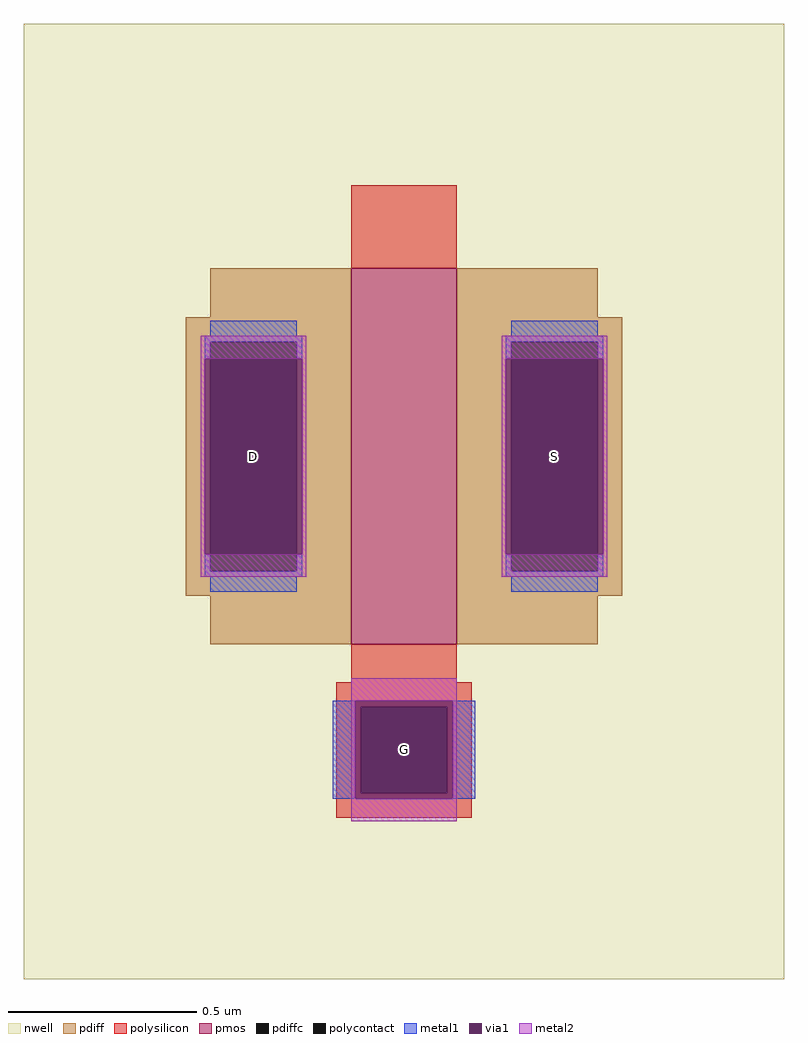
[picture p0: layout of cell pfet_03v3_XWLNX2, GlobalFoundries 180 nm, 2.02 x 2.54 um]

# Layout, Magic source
magic
tech gf180mcuD
magscale 1 10
<< nwell >>
rect -202 -254 202 254
<< pmos >>
rect -28 -76 28 124
<< pdiff >>
rect -103 98 -28 124
rect -116 85 -28 98
rect -116 -37 -103 85
rect -57 -37 -28 85
rect -116 -50 -28 -37
rect -103 -76 -28 -50
rect 28 98 103 124
rect 28 85 116 98
rect 28 -37 57 85
rect 103 -37 116 85
rect 28 -50 116 -37
rect 28 -76 103 -50
<< pdiffc >>
rect -103 -37 -57 85
rect 57 -37 103 85
<< polysilicon >>
rect -28 124 28 168
rect -28 -96 28 -76
rect -36 -109 36 -96
rect -36 -155 -23 -109
rect 23 -155 36 -109
rect -36 -168 36 -155
<< polycontact >>
rect -23 -155 23 -109
<< metal1 >>
rect -103 88 -57 96
rect 57 88 103 96
rect -106 85 -54 88
rect -106 76 -103 85
rect -57 76 -54 85
rect -106 -37 -103 -28
rect -57 -37 -54 -28
rect -106 -40 -54 -37
rect 54 85 106 88
rect 54 76 57 85
rect 103 76 106 85
rect 54 -37 57 -28
rect 103 -37 106 -28
rect 54 -40 106 -37
rect -103 -48 -57 -40
rect 57 -48 103 -40
rect -38 -158 -26 -106
rect 26 -158 38 -106
<< via1 >>
rect -106 -28 -103 76
rect -103 -28 -57 76
rect -57 -28 -54 76
rect 54 -28 57 76
rect 57 -28 103 76
rect 103 -28 106 76
rect -26 -109 26 -106
rect -26 -155 -23 -109
rect -23 -155 23 -109
rect 23 -155 26 -109
rect -26 -158 26 -155
<< metal2 >>
rect -108 76 -52 88
rect -108 -28 -106 76
rect -54 -28 -52 76
rect -108 -40 -52 -28
rect 52 76 108 88
rect 52 -28 54 76
rect 106 -28 108 76
rect 52 -40 108 -28
rect -28 -106 28 -94
rect -28 -158 -26 -106
rect 26 -158 28 -106
rect -28 -170 28 -158
<< labels >>
rlabel pdiffc -80 24 -80 24 0 D
port 1 nsew
rlabel pdiffc 80 24 80 24 0 S
port 2 nsew
rlabel polycontact 0 -132 0 -132 0 G
port 3 nsew
<< properties >>
string gencell pfet_03v3
string library gf180mcu
string parameters w 1.0 l 0.28 m 1 nf 1 diffcov 70 polycov 100 guard 0 glc 0 grc 0 gtc 0 gbc 0 tbcov 100 rlcov 100 topc 0 botc 1 poverlap 0 doverlap 1 lmin 0.28 wmin 0.22 class mosfet full_metal 0 viasrc 60 viadrn 60 viagate 100 viagb 0 viagr 0 viagl 0 viagt 0 doports 1 compatible {pfet_03v3 pfet_05v0 pfet_06v0}
<< end >>
